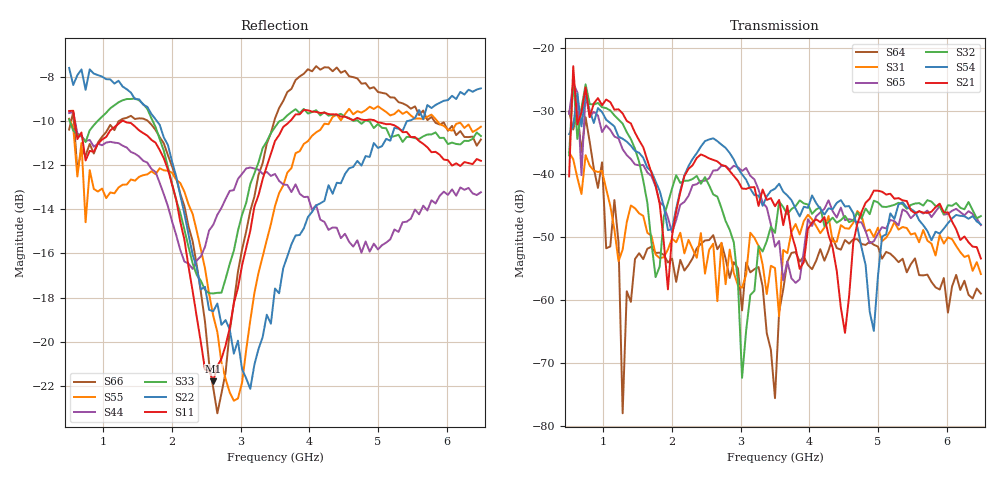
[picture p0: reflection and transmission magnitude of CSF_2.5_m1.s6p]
!Keysight Technologies,M9804A,MY58100912,A.14.10.03
!Date: Thursday, April 27, 2023 10:28:33
!Correction: S11(C  6-Port  )
!S12(C  6-Port  )
!S13(C  6-Port  )
!S14(C  6-Port  )
!S15(C  6-Port  )
!S16(C  6-Port  )
!S21(C  6-Port  )
!S22(C  6-Port  )
!S23(C  6-Port  )
!S24(C  6-Port  )
!S25(C  6-Port  )
!S26(C  6-Port  )
!S31(C  6-Port  )
!S32(C  6-Port  )
!S33(C  6-Port  )
!S34(C  6-Port  )
!S35(C  6-Port  )
!S36(C  6-Port  )
!S41(C  6-Port  )
!S42(C  6-Port  )
!S43(C  6-Port  )
!S44(C  6-Port  )
!S45(C  6-Port  )
!S46(C  6-Port  )
!S51(C  6-Port  )
!S52(C  6-Port  )
!S53(C  6-Port  )
!S54(C  6-Port  )
!S55(C  6-Port  )
!S56(C  6-Port  )
!S61(C  6-Port  )
!S62(C  6-Port  )
!S63(C  6-Port  )
!S64(C  6-Port  )
!S65(C  6-Port  )
!S66(C  6-Port  )
!S6P File: Measurement: :
# Hz S  RI  R 50
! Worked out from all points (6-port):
!   101 points, 500 MHz to 6.5 GHz, reference 50 ohm
!   strongest paths, dB at 500 MHz, 2 GHz, 3.5 GHz, 5 GHz, 6.5 GHz:
!     S21: -40.4, -49.8, -45.1, -42.7, -53.4
!     S54: -33.7, -48.7, -42.4, -56.2, -48.0
!     S32: -37.1, -42.3, -49.4, -44.5, -46.7
!     S65: -30.5, -49.3, -51.5, -49.5, -48.1
!     S31: -36.6, -50.2, -54.9, -48.5, -55.9
!     S64: -30.1, -53.4, -75.6, -51.5, -59.0
!   lowest |S11| = -21.8 dB at 2.6 GHz (marker M1), VSWR 1.18, Z = 42.7 + j1.95 ohm
!   |S11| at or under -10 dB: 581.8 MHz to 1.271 GHz (689.1 MHz wide, 74.4 % of centre); 1.295 GHz to 3.721 GHz (2.426 GHz wide, 96.7 % of centre); 4.965 GHz to end of sweep
